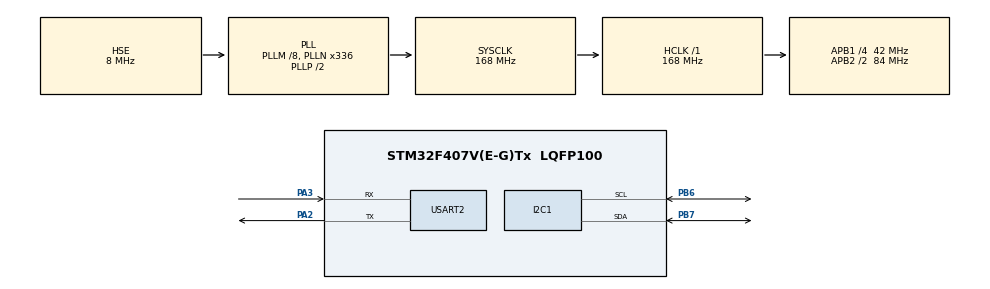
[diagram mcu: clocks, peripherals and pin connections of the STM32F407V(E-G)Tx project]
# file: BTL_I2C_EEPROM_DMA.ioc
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Dma.I2C1_RX.0.Direction=DMA_PERIPH_TO_MEMORY
Dma.I2C1_RX.0.FIFOMode=DMA_FIFOMODE_DISABLE
Dma.I2C1_RX.0.Instance=DMA1_Stream0
Dma.I2C1_RX.0.MemDataAlignment=DMA_MDATAALIGN_BYTE
Dma.I2C1_RX.0.MemInc=DMA_MINC_ENABLE
Dma.I2C1_RX.0.Mode=DMA_NORMAL
Dma.I2C1_RX.0.PeriphDataAlignment=DMA_PDATAALIGN_BYTE
Dma.I2C1_RX.0.PeriphInc=DMA_PINC_DISABLE
Dma.I2C1_RX.0.Priority=DMA_PRIORITY_LOW
Dma.I2C1_TX.1.Direction=DMA_MEMORY_TO_PERIPH
Dma.I2C1_TX.1.FIFOMode=DMA_FIFOMODE_DISABLE
Dma.I2C1_TX.1.Instance=DMA1_Stream7
Dma.I2C1_TX.1.MemDataAlignment=DMA_MDATAALIGN_BYTE
Dma.I2C1_TX.1.MemInc=DMA_MINC_ENABLE
Dma.I2C1_TX.1.Mode=DMA_NORMAL
Dma.I2C1_TX.1.PeriphDataAlignment=DMA_PDATAALIGN_BYTE
Dma.I2C1_TX.1.PeriphInc=DMA_PINC_DISABLE
Dma.I2C1_TX.1.Priority=DMA_PRIORITY_LOW
Dma.Request0=I2C1_RX
Dma.Request1=I2C1_TX
Dma.Request2=USART2_RX
Dma.Request3=USART2_TX
Dma.USART2_RX.2.Direction=DMA_PERIPH_TO_MEMORY
Dma.USART2_RX.2.FIFOMode=DMA_FIFOMODE_DISABLE
Dma.USART2_RX.2.Instance=DMA1_Stream5
Dma.USART2_RX.2.MemDataAlignment=DMA_MDATAALIGN_BYTE
Dma.USART2_RX.2.MemInc=DMA_MINC_ENABLE
Dma.USART2_RX.2.Mode=DMA_NORMAL
Dma.USART2_RX.2.PeriphDataAlignment=DMA_PDATAALIGN_BYTE
Dma.USART2_RX.2.PeriphInc=DMA_PINC_DISABLE
Dma.USART2_RX.2.Priority=DMA_PRIORITY_LOW
Dma.USART2_TX.3.Direction=DMA_MEMORY_TO_PERIPH
Dma.USART2_TX.3.FIFOMode=DMA_FIFOMODE_DISABLE
Dma.USART2_TX.3.Instance=DMA1_Stream6
Dma.USART2_TX.3.MemDataAlignment=DMA_MDATAALIGN_BYTE
Dma.USART2_TX.3.MemInc=DMA_MINC_ENABLE
Dma.USART2_TX.3.Mode=DMA_NORMAL
Dma.USART2_TX.3.PeriphDataAlignment=DMA_PDATAALIGN_BYTE
Dma.USART2_TX.3.PeriphInc=DMA_PINC_DISABLE
Dma.USART2_TX.3.Priority=DMA_PRIORITY_LOW
I2C1.I2C_Mode=I2C_Fast
Mcu.Family=STM32F4
Mcu.Name=STM32F407V(E-G)Tx
Mcu.Package=LQFP100
NVIC.DMA1_Stream0_IRQn=true\:0\:0\:false\:false\:true\:false\:true\:true
NVIC.DMA1_Stream5_IRQn=true\:0\:0\:false\:false\:true\:false\:true\:true
NVIC.DMA1_Stream6_IRQn=true\:0\:0\:false\:false\:true\:false\:true\:true
NVIC.DMA1_Stream7_IRQn=true\:0\:0\:false\:false\:true\:false\:true\:true
NVIC.I2C1_EV_IRQn=true\:0\:0\:false\:false\:true\:true\:true\:true
NVIC.PriorityGroup=NVIC_PRIORITYGROUP_4
NVIC.USART2_IRQn=true\:0\:0\:false\:false\:true\:true\:true\:true
PA13.Mode=Serial_Wire
PA13.Signal=SYS_JTMS-SWDIO
PA14.Mode=Serial_Wire
PA14.Signal=SYS_JTCK-SWCLK
PA2.Mode=Asynchronous
PA2.Signal=USART2_TX
PA3.Mode=Asynchronous
PA3.Signal=USART2_RX
PB6.Mode=I2C
PB6.Signal=I2C1_SCL
PB7.Mode=I2C
PB7.Signal=I2C1_SDA
PH0-OSC_IN.Mode=HSE-External-Oscillator
PH0-OSC_IN.Signal=RCC_OSC_IN
PH1-OSC_OUT.Mode=HSE-External-Oscillator
PH1-OSC_OUT.Signal=RCC_OSC_OUT
ProjectManager.HeapSize=0x200
ProjectManager.StackSize=0x400
ProjectManager.TargetToolchain=STM32CubeIDE
RCC.48MHZClocksFreq_Value=84000000
RCC.AHBFreq_Value=168000000
RCC.APB1CLKDivider=RCC_HCLK_DIV4
RCC.APB1Freq_Value=42000000
RCC.APB1TimFreq_Value=84000000
RCC.APB2CLKDivider=RCC_HCLK_DIV2
RCC.APB2Freq_Value=84000000
RCC.APB2TimFreq_Value=168000000
RCC.CortexFreq_Value=168000000
RCC.HCLKFreq_Value=168000000
RCC.HSE_VALUE=8000000
RCC.HSI_VALUE=16000000
RCC.LSE_VALUE=32768
RCC.PLLM=8
RCC.PLLN=336
RCC.PLLSourceVirtual=RCC_PLLSOURCE_HSE
RCC.SYSCLKFreq_VALUE=168000000
RCC.SYSCLKSource=RCC_SYSCLKSOURCE_PLLCLK
RCC.VCOOutputFreq_Value=336000000
USART2.VirtualMode=VM_ASYNC
board=custom

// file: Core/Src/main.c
/* USER CODE BEGIN Header */
/**
  ******************************************************************************
  * @file           : main.c
  * @brief          : Main program body
  ******************************************************************************
  * @attention
  *
  * Copyright (c) 2023 STMicroelectronics.
  * All rights reserved.
  *
  * This software is licensed under terms that can be found in the LICENSE file
  * in the root directory of this software component.
  * If no LICENSE file comes with this software, it is provided AS-IS.
  *
  ******************************************************************************
  */
/* USER CODE END Header */
#include "main.h"

/* USER CODE BEGIN Includes */
#include "stdint.h"
#include "EEPROM.h"
#include <stdio.h>
#include <string.h>
#include <stdlib.h>
#include <ctype.h>
/* USER CODE END Includes */

I2C_HandleTypeDef hi2c1;
DMA_HandleTypeDef hdma_i2c1_rx;
DMA_HandleTypeDef hdma_i2c1_tx;

UART_HandleTypeDef huart2;
DMA_HandleTypeDef hdma_usart2_rx;
DMA_HandleTypeDef hdma_usart2_tx;

/* USER CODE BEGIN PV */
uint8_t str1_readbyte[50] = "0A550402";
uint8_t str3_readbyte[50] = "0A550B03";
uint8_t str2_readbyte[50] = "0D0A";

uint8_t receive_data[47];
uint8_t buffer[100] = {0};
int n_cnt = 0;
uint8_t dmaDataReceived = 0;
int expected_size;
int data_size;
uint8_t size = 0;
int cal_size;
char result[32];
char result_b[18];
#define EEPROM_I2C_write &hi2c1
#define EEPROM_ADDR_write 0xA0

char str1_w[2];
char str2_w[2];
char str1_r[2];
char str2_r[2];
char str3[2];
char str1_padd[2];
char str2_padd[2];
char str1_badd[2];
char str2_badd[2];
char combinedstr_add[4];
char combinedstr_badd[4];
char combinedstr[5];
uint8_t datar1[100];
uint8_t datar2[16];
uint8_t datar3[2];

uint16_t byte_page1;
uint16_t byte_page2;
uint16_t pagesum;

uint16_t byte_write1;
uint16_t byte_write2;
uint16_t bytesum;

uint16_t byte_read1;
uint16_t byte_read2;
uint16_t byte_read3;
uint16_t byte_read4;
unsigned short xxxx;

int firstNumber;
int secondNumber;
uint16_t bytesum_read;
uint16_t byte_write_data;

char hexString[16];
char hexString_byte[16];
/* USER CODE END PV */

void SystemClock_Config(void);
static void MX_GPIO_Init(void);
static void MX_DMA_Init(void);
static void MX_I2C1_Init(void);
static void MX_USART2_UART_Init(void);

/* USER CODE BEGIN 0 */
//void HAL_UART_RxCpltCallback(UART_HandleTypeDef *huart)
//{
//if (huart->Instance == USART2)
//	{
//	HAL_UART_Receive_DMA(&huart2,&buffer[0],sizeof(buffer));
//	n_cnt++;
//	strcpy(receive_data, buffer);
//	dmaDataReceived = 1;
//	}
//
//}

void HAL_UARTEx_RxEventCallback(UART_HandleTypeDef *huart, uint16_t Size)
{
    HAL_UARTEx_ReceiveToIdle_DMA(&huart2, buffer, 100);
    size = Size;
    if (size == sizeof(receive_data))
    {
    	strcpy(receive_data, buffer);
    	dmaDataReceived = 1;
    	n_cnt++;
    }
}

void removeSpaces(char *str) {
    int len = strlen(str);
    int i, j = 0;

    for (i = 0; i < len; i++) {
        if (!isspace((unsigned char)str[i])) {
            str[j++] = str[i];
        }
    }

    str[j] = '\0';  // Thêm ký tự null để kết thúc chuỗi
}
/* USER CODE END 0 */

int main(void)
{

  /* MCU Configuration--------------------------------------------------------*/

  /* Reset of all peripherals, Initializes the Flash interface and the Systick. */
  HAL_Init();

  /* Configure the system clock */
  SystemClock_Config();

  /* Initialize all configured peripherals */
  MX_GPIO_Init();
  MX_DMA_Init();
  MX_I2C1_Init();
  MX_USART2_UART_Init();
  /* USER CODE BEGIN 2 */
  //HAL_UART_Receive_DMA(&huart2,&buffer[0],sizeof(buffer));
  HAL_UARTEx_ReceiveToIdle_DMA(&huart2, buffer, 100);
  __HAL_DMA_DISABLE_IT(&hdma_usart2_rx, DMA_IT_HT);
  /* USER CODE END 2 */

  /* Infinite loop */
  /* USER CODE BEGIN WHILE */
  while (1)
  {

	  if (dmaDataReceived==1)
	  {

	  sscanf(&receive_data[6], "%2x", &expected_size);
	  char *end_ptr;
	  long int address = strtol(expected_size, &end_ptr, 16);
	  if (strncmp((const char*)receive_data, "0A 55", 5) == 0)				//START BYTE
	  {
		  data_size= strlen(receive_data);
		  cal_size = (data_size - 1 - 2 - 12 - (expected_size - 1))/2;
		  if (cal_size == expected_size)
		  {

		  if (strncmp((const char*)receive_data + 9, "01", 2) == 0)
			{
				  sscanf(&receive_data[12], "%2x", &byte_page1);			//01
				  sscanf(&receive_data[15], "%2x", &byte_page2);			//17h --> 23d
				  pagesum = (uint16_t)((byte_page1 << 8) | byte_page2);		//279
				  char *start_position = &receive_data[18];
				  EEPROM_PageErase(pagesum);

				  char *end_position = strstr(start_position, "0D 0A");

				  if (end_position != NULL)
				  {

				      size_t length = end_position - start_position;
				      hexString[length];
				      strncpy(hexString, start_position, length);
				      removeSpaces(hexString);
				      EEPROM_Write(pagesum, 0, hexString, strlen((char *)hexString));

				  }

			  }
		  else if (strncmp((const char*)receive_data + 9, "00", 2) == 0)
			  {

				  sscanf(&receive_data[12], "%s", &str1_w);
				  sscanf(&receive_data[15], "%s", &str2_w);
				  strcpy(combinedstr, str1_w);
				  strcat(combinedstr, str2_w);
				  xxxx = (unsigned short)strtol(combinedstr, NULL, 16);
				  firstNumber = (xxxx) & 0x3F;
				  secondNumber = (xxxx & 0x7FC0)>>6;
				  sscanf(&receive_data[18], "%s", &str3);
				  strcpy(hexString_byte, str3);
				  EEPROM_Write(secondNumber, firstNumber, hexString_byte, strlen((char *)hexString_byte));
			  }

		  else if (strncmp((const char*)receive_data + 9, "02", 2) == 0)		// current read
			  {

				  sscanf(&receive_data[12], "%s", &str1_r);
				  sscanf(&receive_data[15], "%s", &str2_r);
				  strcpy(combinedstr, str1_r);
				  strcat(combinedstr, str2_r);
				  xxxx = (unsigned short)strtol(combinedstr, NULL, 16);

				  firstNumber = (xxxx) & 0x3F;
				  secondNumber = (xxxx & 0x7FC0)>>6;
				  EEPROM_Read(secondNumber, firstNumber, datar3, 2);
				  sscanf(&receive_data[12], "%s", &str1_badd);
			      sscanf(&receive_data[15], "%s", &str2_badd);

				  sprintf(combinedstr_badd, "%s%s", str1_badd, str2_badd);
				  int index = 0;
				  for (int i = 0; i < strlen(str1_readbyte); i++)
				  {
					  result_b[index++] = str1_readbyte[i];
				  }
				  for (int i = 0; i < strlen(combinedstr_badd); i++) {
					  result_b[index++] = combinedstr_badd[i];
				  }
				  for (int i = 0; i < sizeof(datar3); i++)
				  {
					  result_b[index++] = datar3[i];
					  if (datar3[i] == 255)
					  {
						  datar3[i] = '0';
					  }
					  HAL_Delay(10);
				  }
				  for (int i = 0; i < strlen(str2_readbyte); i++) {
					  result_b[index++] = str2_readbyte[i];
				  }
				  HAL_UART_Transmit_DMA(&huart2, result_b, sizeof(result_b));
				  HAL_Delay(10);
				  dmaDataReceived=0;

			  }

			 else if (strncmp((const char*)receive_data + 9, "03", 2) == 0)		// sequential read
			  {
			 sscanf(&receive_data[12], "%2x", &byte_page1);			//01
				  sscanf(&receive_data[15], "%2x", &byte_page2);			//17h --> 23d
				  pagesum = (uint16_t)((byte_page1 << 8) | byte_page2);
				  EEPROM_Read(pagesum, 0, datar2, 16);
				  sscanf(&receive_data[12], "%s", &str1_padd);
				  sscanf(&receive_data[15], "%s", &str2_padd);

				  sprintf(combinedstr_add, "%s%s", str1_padd, str2_padd);

				    int index = 0;
				        for (int i = 0; i < strlen(str3_readbyte); i++) {
				            result[index++] = str3_readbyte[i];
				        }
				        for (int i = 0; i < strlen(combinedstr_add); i++) {
				            result[index++] = combinedstr_add[i];
				        }
				        for (int i = 0; i < sizeof(datar2); i++) {
				        	if (datar2[i] == 255)
				        	{
				        		datar2[i] = '0';

				        	}
				            result[index++] = datar2[i];

				            HAL_Delay(10);
				        }
				        for (int i = 0; i < strlen(str2_readbyte); i++) {
				            result[index++] = str2_readbyte[i];
				        }
				        HAL_UART_Transmit_DMA(&huart2, result, sizeof(result));
				        HAL_Delay(10);
				        dmaDataReceived=0;
				    }
	  }
			  }

			  dmaDataReceived=0;
	  }

    /* USER CODE END WHILE */

  }
}

void SystemClock_Config(void)
{
  RCC_OscInitTypeDef RCC_OscInitStruct = {0};
  RCC_ClkInitTypeDef RCC_ClkInitStruct = {0};

  /** Configure the main internal regulator output voltage
  */
  __HAL_RCC_PWR_CLK_ENABLE();
  __HAL_PWR_VOLTAGESCALING_CONFIG(PWR_REGULATOR_VOLTAGE_SCALE1);

  /** Initializes the RCC Oscillators according to the specified parameters
  * in the RCC_OscInitTypeDef structure.
  */
  RCC_OscInitStruct.OscillatorType = RCC_OSCILLATORTYPE_HSE;
  RCC_OscInitStruct.HSEState = RCC_HSE_ON;
  RCC_OscInitStruct.PLL.PLLState = RCC_PLL_ON;
  RCC_OscInitStruct.PLL.PLLSource = RCC_PLLSOURCE_HSE;
  RCC_OscInitStruct.PLL.PLLM = 8;
  RCC_OscInitStruct.PLL.PLLN = 336;
  RCC_OscInitStruct.PLL.PLLP = RCC_PLLP_DIV2;
  RCC_OscInitStruct.PLL.PLLQ = 4;
  if (HAL_RCC_OscConfig(&RCC_OscInitStruct) != HAL_OK)
  {
    Error_Handler();
  }

  /** Initializes the CPU, AHB and APB buses clocks
  */
  RCC_ClkInitStruct.ClockType = RCC_CLOCKTYPE_HCLK|RCC_CLOCKTYPE_SYSCLK
                              |RCC_CLOCKTYPE_PCLK1|RCC_CLOCKTYPE_PCLK2;
  RCC_ClkInitStruct.SYSCLKSource = RCC_SYSCLKSOURCE_PLLCLK;
  RCC_ClkInitStruct.AHBCLKDivider = RCC_SYSCLK_DIV1;
  RCC_ClkInitStruct.APB1CLKDivider = RCC_HCLK_DIV4;
  RCC_ClkInitStruct.APB2CLKDivider = RCC_HCLK_DIV2;

  if (HAL_RCC_ClockConfig(&RCC_ClkInitStruct, FLASH_LATENCY_5) != HAL_OK)
  {
    Error_Handler();
  }
}

static void MX_I2C1_Init(void)
{

  hi2c1.Instance = I2C1;
  hi2c1.Init.ClockSpeed = 400000;
  hi2c1.Init.DutyCycle = I2C_DUTYCYCLE_2;
  hi2c1.Init.OwnAddress1 = 0;
  hi2c1.Init.AddressingMode = I2C_ADDRESSINGMODE_7BIT;
  hi2c1.Init.DualAddressMode = I2C_DUALADDRESS_DISABLE;
  hi2c1.Init.OwnAddress2 = 0;
  hi2c1.Init.GeneralCallMode = I2C_GENERALCALL_DISABLE;
  hi2c1.Init.NoStretchMode = I2C_NOSTRETCH_DISABLE;
  if (HAL_I2C_Init(&hi2c1) != HAL_OK)
  {
    Error_Handler();
  }

}

static void MX_USART2_UART_Init(void)
{

  huart2.Instance = USART2;
  huart2.Init.BaudRate = 115200;
  huart2.Init.WordLength = UART_WORDLENGTH_8B;
  huart2.Init.StopBits = UART_STOPBITS_1;
  huart2.Init.Parity = UART_PARITY_NONE;
  huart2.Init.Mode = UART_MODE_TX_RX;
  huart2.Init.HwFlowCtl = UART_HWCONTROL_NONE;
  huart2.Init.OverSampling = UART_OVERSAMPLING_16;
  if (HAL_UART_Init(&huart2) != HAL_OK)
  {
    Error_Handler();
  }

}

static void MX_DMA_Init(void)
{

  /* DMA controller clock enable */
  __HAL_RCC_DMA1_CLK_ENABLE();

  /* DMA interrupt init */
  /* DMA1_Stream0_IRQn interrupt configuration */
  HAL_NVIC_SetPriority(DMA1_Stream0_IRQn, 0, 0);
  HAL_NVIC_EnableIRQ(DMA1_Stream0_IRQn);
  /* DMA1_Stream5_IRQn interrupt configuration */
  HAL_NVIC_SetPriority(DMA1_Stream5_IRQn, 0, 0);
  HAL_NVIC_EnableIRQ(DMA1_Stream5_IRQn);
  /* DMA1_Stream6_IRQn interrupt configuration */
  HAL_NVIC_SetPriority(DMA1_Stream6_IRQn, 0, 0);
  HAL_NVIC_EnableIRQ(DMA1_Stream6_IRQn);
  /* DMA1_Stream7_IRQn interrupt configuration */
  HAL_NVIC_SetPriority(DMA1_Stream7_IRQn, 0, 0);
  HAL_NVIC_EnableIRQ(DMA1_Stream7_IRQn);

}

static void MX_GPIO_Init(void)
{

  /* GPIO Ports Clock Enable */
  __HAL_RCC_GPIOH_CLK_ENABLE();
  __HAL_RCC_GPIOA_CLK_ENABLE();
  __HAL_RCC_GPIOB_CLK_ENABLE();

}

void Error_Handler(void)
{
  __disable_irq();
  while (1)
  {
  }
}
